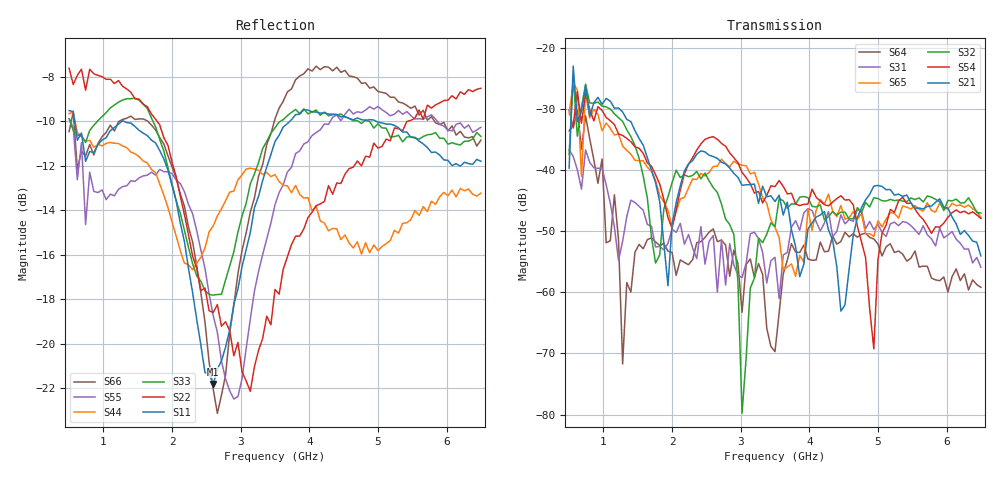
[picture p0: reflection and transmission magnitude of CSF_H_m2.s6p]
!Keysight Technologies,M9804A,MY58100912,A.14.10.03
!Date: Thursday, April 27, 2023 10:28:33
!Correction: S11(C  6-Port  )
!S12(C  6-Port  )
!S13(C  6-Port  )
!S14(C  6-Port  )
!S15(C  6-Port  )
!S16(C  6-Port  )
!S21(C  6-Port  )
!S22(C  6-Port  )
!S23(C  6-Port  )
!S24(C  6-Port  )
!S25(C  6-Port  )
!S26(C  6-Port  )
!S31(C  6-Port  )
!S32(C  6-Port  )
!S33(C  6-Port  )
!S34(C  6-Port  )
!S35(C  6-Port  )
!S36(C  6-Port  )
!S41(C  6-Port  )
!S42(C  6-Port  )
!S43(C  6-Port  )
!S44(C  6-Port  )
!S45(C  6-Port  )
!S46(C  6-Port  )
!S51(C  6-Port  )
!S52(C  6-Port  )
!S53(C  6-Port  )
!S54(C  6-Port  )
!S55(C  6-Port  )
!S56(C  6-Port  )
!S61(C  6-Port  )
!S62(C  6-Port  )
!S63(C  6-Port  )
!S64(C  6-Port  )
!S65(C  6-Port  )
!S66(C  6-Port  )
!S6P File: Measurement: :
# Hz S  RI  R 50
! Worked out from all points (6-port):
!   101 points, 500 MHz to 6.5 GHz, reference 50 ohm
!   strongest paths, dB at 500 MHz, 2 GHz, 3.5 GHz, 5 GHz, 6.5 GHz:
!     S21: -39.7, -49.0, -45.1, -42.5, -54.1
!     S54: -33.6, -49.5, -42.7, -54.7, -47.9
!     S32: -37.4, -42.1, -49.3, -44.6, -47.0
!     S65: -30.8, -49.2, -49.3, -48.3, -47.8
!     S31: -36.7, -49.7, -54.3, -48.9, -55.9
!     S64: -30.1, -53.5, -69.7, -52.1, -59.2
!   lowest |S11| = -21.8 dB at 2.6 GHz (marker M1), VSWR 1.18, Z = 42.7 + j1.91 ohm
!   |S11| at or under -10 dB: 580.2 MHz to 1.271 GHz (690.4 MHz wide, 74.6 % of centre); 1.296 GHz to 3.718 GHz (2.421 GHz wide, 96.6 % of centre); 4.973 GHz to end of sweep
